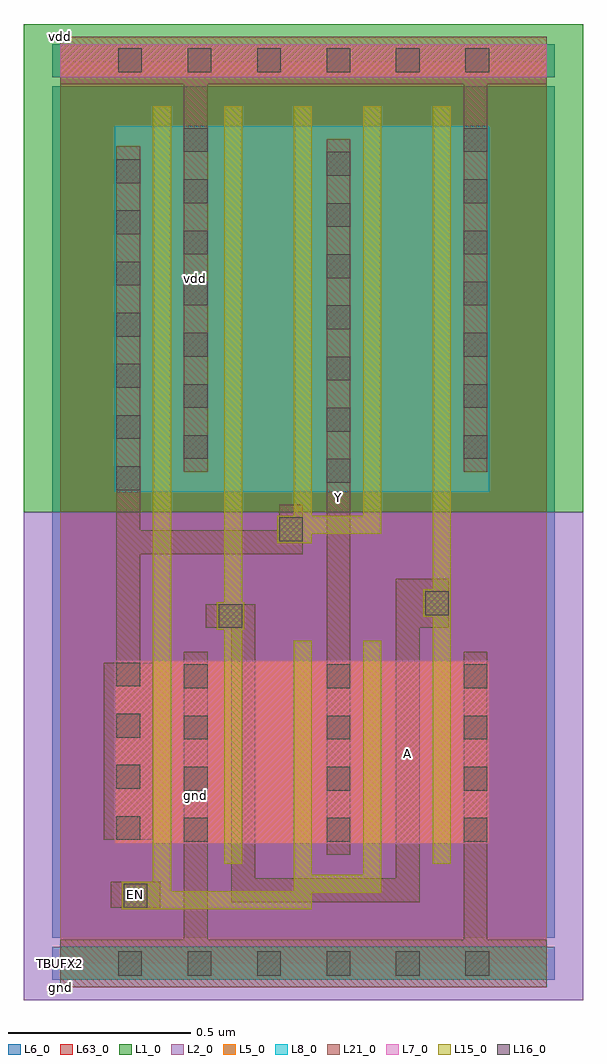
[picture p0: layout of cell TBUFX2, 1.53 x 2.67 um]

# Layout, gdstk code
import gdstk
lib = gdstk.Library(unit=1e-6, precision=1e-09)
def R(c, l, rs):  # rectangles x0, y0, x1, y1
    for r in rs: c.add(gdstk.rectangle(r[:2], r[2:], *l))
def A(c, l, x, y, w, h, nx, ny, dx, dy):  # array of equal rectangles
    R(c, l, [(x+i*dx, y+j*dy, x+i*dx+w, y+j*dy+h) for i in range(nx) for j in range(ny)])
def P(c, l, *ps):  # polygons
    for p in ps: c.add(gdstk.Polygon(p, *l))
L1_0 = (1, 0)
L2_0 = (2, 0)
L5_0 = (5, 0)
L6_0 = (6, 0)
L7_0 = (7, 0)
L8_0 = (8, 0)
L15_0 = (15, 0)
L16_0 = (16, 0)
L21_0 = (21, 0)
L63_0 = (63, 0)

tbufx2 = lib.new_cell('TBUFX2')
R(tbufx2, L1_0, [(-0.1,1.235,1.43,2.57)])
R(tbufx2, L2_0, [(-0.1,-0.1,1.43,1.235)])
A(tbufx2, L5_0, 0.448, 0.328, 0.05, 0.5, 4, 1, 0.19, 0)
A(tbufx2, L5_0, 0.498, 0.328, 0.14, 0.5, 3, 1, 0.19, 0)
A(tbufx2, L5_0, 0.448, 1.29, 0.05, 1, 4, 1, 0.19, 0)
A(tbufx2, L5_0, 0.498, 1.29, 0.14, 1, 3, 1, 0.19, 0)
R(tbufx2, L5_0, [(0,-0.045,1.33,0.045), (0.148,0.328,0.253,0.828), (0.253,0.328,0.303,0.828), (0.303,0.328,0.448,0.828), (1.068,0.328,1.173,0.828), (0.148,1.29,0.253,2.29), (0.253,1.29,0.303,2.29), (0.303,1.29,0.448,2.29), (1.068,1.29,1.173,2.29), (0,2.425,1.33,2.515)])
R(tbufx2, L6_0, [(-0.023,-0.045,1.353,0.045), (-0.023,-0.045,1.353,0.045), (-0.023,0.07,1.353,1.235), (-0.023,1.235,1.353,2.4), (-0.023,2.425,1.353,2.515), (-0.023,2.425,1.353,2.515)])
A(tbufx2, L7_0, 0.448, 0.328, 0.05, 0.5, 4, 1, 0.19, 0)
A(tbufx2, L7_0, 0.498, 0.328, 0.14, 0.5, 3, 1, 0.19, 0)
R(tbufx2, L7_0, [(0.148,0.328,0.253,0.828), (0.253,0.328,0.303,0.828), (0.303,0.328,0.448,0.828), (1.068,0.328,1.173,0.828), (0,2.425,1.33,2.515)])
A(tbufx2, L8_0, 0.448, 1.29, 0.05, 1, 4, 1, 0.19, 0)
A(tbufx2, L8_0, 0.498, 1.29, 0.14, 1, 3, 1, 0.19, 0)
R(tbufx2, L8_0, [(0,-0.045,1.33,0.045), (0.148,1.29,0.253,2.29), (0.253,1.29,0.303,2.29), (0.303,1.29,0.448,2.29), (1.068,1.29,1.173,2.29)])
A(tbufx2, L15_0, 0.448, 0.328, 0.05, 0.5, 4, 1, 0.19, 0)
A(tbufx2, L15_0, 0.448, 1.29, 0.05, 1, 4, 1, 0.19, 0)
A(tbufx2, L15_0, 0.448, 2.29, 0.05, 0.055, 4, 1, 0.19, 0)
R(tbufx2, L15_0, [(0.448,0.273,0.498,0.328), (1.018,0.273,1.068,0.328), (0.253,0.328,0.303,0.828), (0.253,0.828,0.303,1.29), (0.638,0.828,0.688,0.883), (0.828,0.828,0.878,0.883), (0.253,1.29,0.303,2.29), (0.253,2.29,0.303,2.345)])
P(tbufx2, L15_0, [(0.253,0.223),(0.253,0.328),(0.303,0.328),(0.303,0.198),(0.638,0.198),(0.638,0.328),(0.688,0.328),(0.688,0.243),(0.828,0.243),(0.828,0.328),(0.878,0.328),(0.878,0.193),(0.688,0.193),(0.688,0.148),(0.168,0.148),(0.168,0.223)],
  [(0.448,0.913),(0.428,0.913),(0.428,0.988),(0.448,0.988),(0.448,1.29),(0.498,1.29),(0.498,0.988),(0.503,0.988),(0.503,0.913),(0.498,0.913),(0.498,0.828),(0.448,0.828)],
  [(0.638,1.225),(0.638,1.29),(0.688,1.29),(0.688,1.225),(0.828,1.225),(0.828,1.29),(0.878,1.29),(0.878,1.175),(0.688,1.175),(0.688,1.15),(0.593,1.15),(0.593,1.225)],
  [(1.018,0.948),(0.993,0.948),(0.993,1.023),(1.018,1.023),(1.018,1.29),(1.068,1.29),(1.068,0.828),(1.018,0.828)])
A(tbufx2, L16_0, 0.158, -0.033, 0.065, 0.066, 6, 1, 0.19, 0)
A(tbufx2, L16_0, 0.338, 0.333, 0.065, 0.065, 1, 4, 0, 0.14)
A(tbufx2, L16_0, 0.728, 0.333, 0.065, 0.065, 1, 4, 0, 0.14)
A(tbufx2, L16_0, 1.103, 0.333, 0.065, 0.065, 1, 4, 0, 0.14)
A(tbufx2, L16_0, 0.153, 0.338, 0.065, 0.065, 1, 4, 0, 0.14)
A(tbufx2, L16_0, 0.153, 1.295, 0.065, 0.065, 1, 7, 0, 0.14)
A(tbufx2, L16_0, 0.728, 1.315, 0.065, 0.065, 1, 7, 0, 0.14)
A(tbufx2, L16_0, 0.338, 1.38, 0.065, 0.065, 1, 7, 0, 0.14)
A(tbufx2, L16_0, 1.103, 1.38, 0.065, 0.065, 1, 7, 0, 0.14)
A(tbufx2, L16_0, 0.158, 2.438, 0.065, 0.065, 6, 1, 0.19, 0)
R(tbufx2, L16_0, [(0.173,0.153,0.238,0.218), (0.433,0.918,0.498,0.983), (0.998,0.953,1.063,1.018), (0.598,1.155,0.663,1.22)])
R(tbufx2, L21_0, [(0.138,0.153,0.273,0.223), (0.728,0.298,0.793,2.255)])
P(tbufx2, L21_0, [(0,2.405),(0,2.535),(1.33,2.535),(1.33,2.405),(1.168,2.405),(1.168,1.345),(1.103,1.345),(1.103,2.405),(0.403,2.405),(0.403,1.345),(0.338,1.345),(0.338,2.405)],
  [(0,-0.065),(0,0.065),(0.338,0.065),(0.338,0.853),(0.403,0.853),(0.403,0.065),(1.103,0.065),(1.103,0.853),(1.168,0.853),(1.168,0.065),(1.33,0.065),(1.33,-0.065)],
  [(0.218,1.185),(0.598,1.185),(0.598,1.255),(0.663,1.255),(0.663,1.12),(0.218,1.12),(0.218,0.823),(0.253,0.823),(0.253,0.338),(0.118,0.338),(0.118,0.823),(0.153,0.823),(0.153,2.235),(0.218,2.235)],
  [(0.918,0.233),(0.918,1.053),(1.063,1.053),(1.063,0.918),(0.983,0.918),(0.983,0.168),(0.468,0.168),(0.468,0.918),(0.398,0.918),(0.398,0.983),(0.533,0.983),(0.533,0.233)])
R(tbufx2, L63_0, [(0,0,1.33,2.47)])
tbufx2.add(gdstk.Label('vdd', (0.37,1.875), layer=21, texttype=1))
tbufx2.add(gdstk.Label('gnd', (0.37,0.459), layer=21, texttype=1))
tbufx2.add(gdstk.Label('Y', (0.76,1.276), layer=21, texttype=1))
tbufx2.add(gdstk.Label('EN', (0.205,0.188), layer=21, texttype=1))
tbufx2.add(gdstk.Label('A', (0.95,0.575), layer=21, texttype=1))
tbufx2.add(gdstk.Label('vdd', (0,2.535), layer=21, texttype=2))
tbufx2.add(gdstk.Label('gnd', (0,-0.065), layer=21, texttype=2))
tbufx2.add(gdstk.Label('TBUFX2', (0,0), layer=63, texttype=1))

lib.write_gds('TBUFX2.gds')
